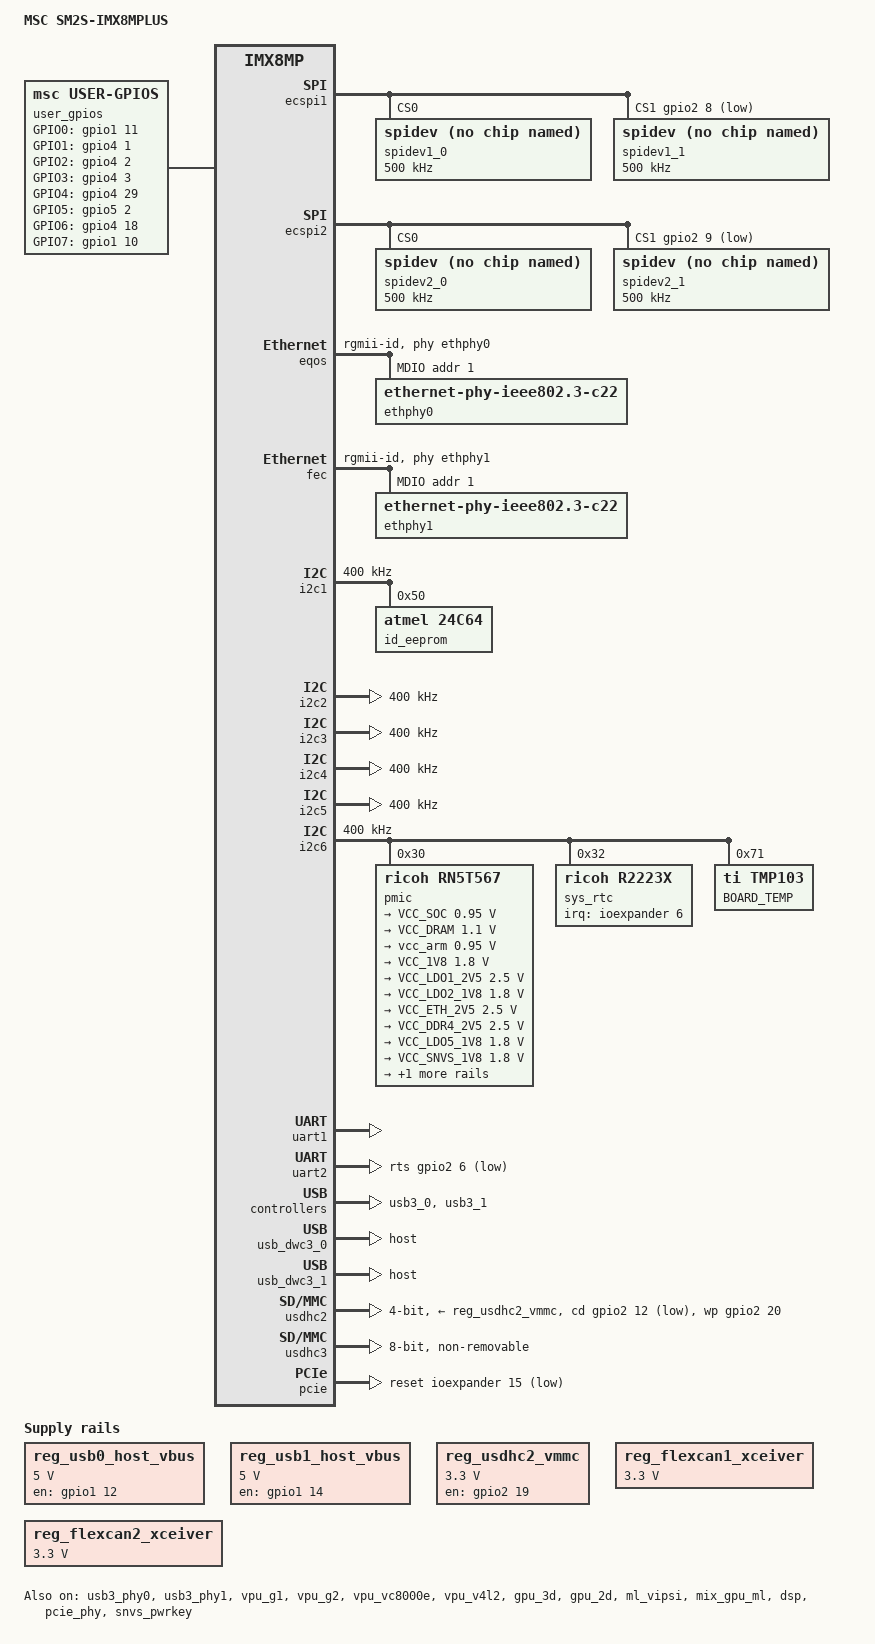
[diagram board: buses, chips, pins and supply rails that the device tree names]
/*
 * Copyright (C) 2022 Avnet Embedded GmbH
 *
 * This program is free software; you can redistribute it and/or
 * modify it under the terms of the GNU General Public License as
 * published by the Free Software Foundation version 2.
 *
 * This program is distributed "as is" WITHOUT ANY WARRANTY of any
 * kind, whether express or implied; without even the implied warranty
 * of MERCHANTABILITY or FITNESS FOR A PARTICULAR PURPOSE.  See the
 * GNU General Public License for more details.
 */

/dts-v1/;

#include <dt-bindings/usb/pd.h>
#include "../../freescale/imx8mp.dtsi"
#include <dt-bindings/net/ti-dp83867.h>
#include <dt-bindings/mfd/ricoh-rn5t618.h>
#include <dt-bindings/input/snvs_pwrkey.h>

/ {
	model = "MSC SM2S-IMX8MPLUS";
	compatible = "msc,sm2s-imx8mp", "fsl,imx8mp";

	aliases {
		rtc0 = &sys_rtc;
		rtc1 = &snvs_rtc;
	};

	chosen {
		stdout-path = &uart2;
	};

	/* clkout1 monitor output */
	clkout1: clkout1 {
		compatible = "fixed-clock";
		#clock-cells = <0>;
		clock-frequency = <24000000>;
		clock-output-names = "clkout1";
	};

	/* clkout2 monitor output */
	clkout2: clkout2 {
		compatible = "fixed-clock";
		#clock-cells = <0>;
		clock-frequency = <24000000>;
		clock-output-names = "clkout2";
	};

	reg_usb0_host_vbus: regulator-usb0-vbus {
		compatible = "regulator-fixed";
		regulator-name = "usb0_host_vbus";
		pinctrl-names = "default";
		pinctrl-0 = <&pinctrl_usb0_vbus>;
		regulator-min-microvolt = <5000000>;
		regulator-max-microvolt = <5000000>;
		gpio = <&gpio1 12 GPIO_ACTIVE_HIGH>;
		enable-active-high;
		/* regulator-always-on; */
	};

	reg_usb1_host_vbus: regulator-usb1-vbus {
		compatible = "regulator-fixed";
		regulator-name = "usb1_host_vbus";
		pinctrl-names = "default";
		pinctrl-0 = <&pinctrl_usb1_vbus>;
		regulator-min-microvolt = <5000000>;
		regulator-max-microvolt = <5000000>;
		gpio = <&gpio1 14 GPIO_ACTIVE_HIGH>;
		enable-active-high;
		/* regulator-always-on; */
	};

	reg_usdhc2_vmmc: regulator-usdhc2 {
		compatible = "regulator-fixed";
		pinctrl-names = "default";
		pinctrl-0 = <&pinctrl_reg_usdhc2_vmmc>;
		regulator-name = "VSD_3V3";
		regulator-min-microvolt = <3300000>;
		regulator-max-microvolt = <3300000>;
		gpio = <&gpio2 19 GPIO_ACTIVE_HIGH>;
		enable-active-high;
		startup-delay-us = <100>;
		off-on-delay-us = <12000>;
	};

	reg_flexcan1_xceiver: regulator-flexcan1-xceiver {
		compatible = "regulator-fixed";
		regulator-name = "flexcan1-xceiver";
		regulator-min-microvolt = <3300000>;
		regulator-max-microvolt = <3300000>;
		enable-active-high;
	};

	reg_flexcan2_xceiver: regulator-flexcan2-xceiver {
		compatible = "regulator-fixed";
		regulator-name = "flexcan2-xceiver";
		regulator-min-microvolt = <3300000>;
		regulator-max-microvolt = <3300000>;
		enable-active-high;
	};

	lcd0_backlight: lcd0_backlight {
		pinctrl-names = "default";
		pinctrl-0 = <&pinctrl_lcd0_backlight>;
		compatible = "pwm-backlight";
		pwms = <&pwm1 0 100000>;
		brightness-levels = <
			  0   1   2   3   4   5   6   7   8   9
			 10  11  12  13  14  15  16  17  18  19
			 20  21  22  23  24  25  26  27  28  29
			 30  31  32  33  34  35  36  37  38  39
			 40  41  42  43  44  45  46  47  48  49
			 50  51  52  53  54  55  56  57  58  59
			 60  61  62  63  64  65  66  67  68  69
			 70  71  72  73  74  75  76  77  78  79
			 80  81  82  83  84  85  86  87  88  89
			 90  91  92  93  94  95  96  97  98  99
			100 101 102 103 104 105 106 107 108 109
			110 111 112 113 114 115 116 117 118 119
			120 121 122 123 124 125 126 127 128 129
			130 131 132 133 134 135 136 137 138 139
			140 141 142 143 144 145 146 147 148 149
			150 151 152 153 154 155 156 157 158 159
			160 161 162 163 164 165 166 167 168 169
			170 171 172 173 174 175 176 177 178 179
			180 181 182 183 184 185 186 187 188 189
			190 191 192 193 194 195 196 197 198 199
			200 201 202 203 204 205 206 207 208 209
			210 211 212 213 214 215 216 217 218 219
			220 221 222 223 224 225 226 227 228 229
			230 231 232 233 234 235 236 237 238 239
			240 241 242 243 244 245 246 247 248 249
			250 251 252 253 254 255
		>;
		default-brightness-level = <255>;
		enable-gpios = <&gpio1 5 GPIO_ACTIVE_HIGH>;
		status = "disabled";
	};

	lcd1_backlight: lcd1_backlight {
		pinctrl-names = "default";
		pinctrl-0 = <&pinctrl_lcd1_backlight>;
		compatible = "pwm-backlight";
		pwms = <&pwm2 0 100000>;
		brightness-levels = <
			  0   1   2   3   4   5   6   7   8   9
			 10  11  12  13  14  15  16  17  18  19
			 20  21  22  23  24  25  26  27  28  29
			 30  31  32  33  34  35  36  37  38  39
			 40  41  42  43  44  45  46  47  48  49
			 50  51  52  53  54  55  56  57  58  59
			 60  61  62  63  64  65  66  67  68  69
			 70  71  72  73  74  75  76  77  78  79
			 80  81  82  83  84  85  86  87  88  89
			 90  91  92  93  94  95  96  97  98  99
			100 101 102 103 104 105 106 107 108 109
			110 111 112 113 114 115 116 117 118 119
			120 121 122 123 124 125 126 127 128 129
			130 131 132 133 134 135 136 137 138 139
			140 141 142 143 144 145 146 147 148 149
			150 151 152 153 154 155 156 157 158 159
			160 161 162 163 164 165 166 167 168 169
			170 171 172 173 174 175 176 177 178 179
			180 181 182 183 184 185 186 187 188 189
			190 191 192 193 194 195 196 197 198 199
			200 201 202 203 204 205 206 207 208 209
			210 211 212 213 214 215 216 217 218 219
			220 221 222 223 224 225 226 227 228 229
			230 231 232 233 234 235 236 237 238 239
			240 241 242 243 244 245 246 247 248 249
			250 251 252 253 254 255
		>;
		default-brightness-level = <255>;
		enable-gpios = <&gpio1 6 GPIO_ACTIVE_HIGH>;
		status = "disabled";
	};

	sound-hdmi {
		compatible = "fsl,imx-audio-hdmi";
		model = "audio-hdmi";
		audio-cpu = <&aud2htx>;
		hdmi-out;
		constraint-rate = <44100>,
				<88200>,
				<176400>,
				<32000>,
				<48000>,
				<96000>,
				<192000>;
		status = "disabled";
	};

	user_gpios {
		compatible = "msc,user-gpios";
		GPIO0-gpios = <&gpio1 11 GPIO_ACTIVE_HIGH>;
		GPIO1-gpios = <&gpio4 1 GPIO_ACTIVE_HIGH>;
		GPIO2-gpios = <&gpio4 2 GPIO_ACTIVE_HIGH>;
		GPIO3-gpios = <&gpio4 3 GPIO_ACTIVE_HIGH>;
		GPIO4-gpios = <&gpio4 29 GPIO_ACTIVE_HIGH>;
		GPIO5-gpios = <&gpio5 2 GPIO_ACTIVE_HIGH>;
		GPIO6-gpios = <&gpio4 18 GPIO_ACTIVE_HIGH>;
		GPIO7-gpios = <&gpio1 10 GPIO_ACTIVE_HIGH>;
		GPIO8-gpios = <&gpio4 20 GPIO_ACTIVE_HIGH>;
		GPIO9-gpios = <&gpio4 21 GPIO_ACTIVE_HIGH>;
		GPIO10-gpios = <&gpio4 22 GPIO_ACTIVE_HIGH>;
		GPIO11-gpios = <&gpio4 28 GPIO_ACTIVE_HIGH>;
		GPIO12-gpios = <&gpio4 19 GPIO_ACTIVE_HIGH>;
		GPIO13-gpios = <&gpio4 0 GPIO_ACTIVE_HIGH>;
	};

	i2c_ids {
		compatible = "msc,i2c-ids";
		i2c_gp {
			label = "gp";
			bus = <&i2c1>;
		};
		i2c_pm {
			label = "pm";
			bus = <&i2c2>;
		};
		i2c_lcd {
			label = "lcd";
			bus = <&i2c3>;
		};
		i2c_cam0 {
			label = "cam0";
			bus = <&i2c4>;
		};
		i2c_cam1 {
			label = "cam1";
			bus = <&i2c5>;
		};
		i2c_dev {
			label = "dev";
			bus = <&i2c6>;
		};
	};
};

&aud2htx {
	status = "disabled";
};

&A53_0 {
	cpu-supply = <&vcc_arm>;
};

&A53_1 {
	cpu-supply = <&vcc_arm>;
};

&A53_2 {
	cpu-supply = <&vcc_arm>;
};

&A53_3 {
	cpu-supply = <&vcc_arm>;
};

&pwm1 {
	pinctrl-names = "default";
	pinctrl-0 = <&pinctrl_pwm1>;
	status = "disabled";
};

&pwm2 {
	pinctrl-names = "default";
	pinctrl-0 = <&pinctrl_pwm2>;
	status = "disabled";
};

&pwm3 {
	pinctrl-names = "default";
	pinctrl-0 = <&pinctrl_pwm3>;
	status = "disabled";
};

&pwm4 {
	pinctrl-names = "default";
	pinctrl-0 = <&pinctrl_pwm4>;
	status = "disabled";
};

&ecspi1 {
	#address-cells = <1>;
	#size-cells = <0>;
	pinctrl-names = "default";
	pinctrl-0 = <&pinctrl_ecspi1>, <&pinctrl_ecspi1_cs0>, <&pinctrl_ecspi1_cs1>;
	fsl,spi-num-chipselects = <2>;
	cs-gpios =
			<0>,
			<&gpio2 8 GPIO_ACTIVE_LOW>;
	status = "okay";

	spidev1_0: spi@0 {
		compatible = "rohm,dh2228fv";
		reg = <0>;
		spi-max-frequency = <500000>;
	};

	spidev1_1: spi@1 {
		compatible = "rohm,dh2228fv";
		reg = <1>;
		spi-max-frequency = <500000>;
	};
};

&ecspi2 {
	#address-cells = <1>;
	#size-cells = <0>;
	pinctrl-names = "default";
	pinctrl-0 = <&pinctrl_ecspi2>, <&pinctrl_ecspi2_cs0>, <&pinctrl_ecspi2_cs1>;
	fsl,spi-num-chipselects = <2>;
	cs-gpios =
			<0>,
			<&gpio2 9 GPIO_ACTIVE_LOW>;
	status = "okay";

	spidev2_0: spi@0 {
		compatible = "rohm,dh2228fv";
		reg = <0>;
		spi-max-frequency = <500000>;
	};

	spidev2_1: spi@1 {
		compatible = "rohm,dh2228fv";
		reg = <1>;
		spi-max-frequency = <500000>;
	};
};

&eqos {
	pinctrl-names = "default";
	pinctrl-0 = <&pinctrl_eqos>;
	phy-mode = "rgmii-id";
	phy-handle = <&ethphy0>;
	phy-reset-duration = <1>;
	phy-reset-post-delay = <1>;
	status = "okay";

	mdio {
		compatible = "snps,dwmac-mdio";
		#address-cells = <1>;
		#size-cells = <0>;

		ethphy0: ethernet-phy@1 {
			compatible = "ethernet-phy-ieee802.3-c22";
			reg = <1>;
			eee-broken-1000t;

			ti,rx-internal-delay = <DP83867_RGMIIDCTL_2_25_NS>;
			ti,tx-internal-delay = <DP83867_RGMIIDCTL_2_25_NS>;
			ti,fifo-depth = <DP83867_PHYCR_FIFO_DEPTH_4_B_NIB>;
			ti,led-2-sel = <MII_DP83867_LEDCR1_LED_SEL_LE_RX_TX_ACT>;
			ti,led-1-sel = <MII_DP83867_LEDCR1_LED_SEL_1000BT_LE>;
			ti,led-0-sel = <MII_DP83867_LEDCR1_LED_SEL_100BTX_LE>;
			ti,led-gpio-polarity-active-high;
			ti,led-2-polarity-active-high;
			ti,led-1-polarity-active-high;
			ti,led-0-polarity-active-high;
			ti,clk-output-sel = <DP83867_CLK_O_SEL_OFF>;
			ti,deep-power-down-mode-enable;
		};
	};
};

&fec {
	pinctrl-names = "default";
	pinctrl-0 = <&pinctrl_fec>;
	phy-mode = "rgmii-id";
	phy-handle = <&ethphy1>;
	fsl,magic-packet;
	phy-reset-duration = <1>;
	phy-reset-post-delay = <1>;
	status = "okay";

	mdio {
		#address-cells = <1>;
		#size-cells = <0>;

		ethphy1: ethernet-phy@1 {
			compatible = "ethernet-phy-ieee802.3-c22";
			reg = <1>;
			eee-broken-1000t;

			ti,rx-internal-delay = <DP83867_RGMIIDCTL_2_25_NS>;
			ti,tx-internal-delay = <DP83867_RGMIIDCTL_2_25_NS>;
			ti,fifo-depth = <DP83867_PHYCR_FIFO_DEPTH_4_B_NIB>;
			ti,led-2-sel = <MII_DP83867_LEDCR1_LED_SEL_LE_RX_TX_ACT>;
			ti,led-1-sel = <MII_DP83867_LEDCR1_LED_SEL_1000BT_LE>;
			ti,led-0-sel = <MII_DP83867_LEDCR1_LED_SEL_100BTX_LE>;
			ti,led-gpio-polarity-active-high;
			ti,led-2-polarity-active-high;
			ti,led-1-polarity-active-high;
			ti,led-0-polarity-active-high;
			ti,clk-output-sel = <DP83867_CLK_O_SEL_OFF>;
			ti,deep-power-down-mode-enable;
		};
	};
};

/* i2c_gp */
&i2c1 {
	pinctrl-names = "default";
	pinctrl-0 = <&pinctrl_i2c1>;
	clock-frequency = <400000>;
	status = "okay";

	id_eeprom: eeprom@50 {
		compatible = "atmel,24c64";
		reg = <0x50>;
		pagesize = <32>;
	};
};

/* i2c_pm */
&i2c2 {
	pinctrl-names = "default";
	pinctrl-0 = <&pinctrl_i2c2>;
	clock-frequency = <400000>;
	status = "okay";
};

/* i2c_lcd */
&i2c3 {
	pinctrl-names = "default";
	pinctrl-0 = <&pinctrl_i2c3>;
	clock-frequency = <400000>;
	status = "okay";
};

/* i2c_cam0 */
&i2c4 {
	pinctrl-names = "default";
	pinctrl-0 = <&pinctrl_i2c4>;
	clock-frequency = <400000>;
	status = "okay";
};

/* i2c_cam1 */
&i2c5 {
	pinctrl-names = "default";
	pinctrl-0 = <&pinctrl_i2c5>;
	clock-frequency = <400000>;
	status = "okay";
};

/* i2c_dev */
&i2c6 {
	pinctrl-names = "default";
	pinctrl-0 = <&pinctrl_i2c6>;
	clock-frequency = <400000>;
	status = "okay";

	dsi_lvds_bridge: sn65dsi84@2d {
		compatible = "ti,sn65dsi83";
		reg = <0x2d>;
		pinctrl-names = "default";
		pinctrl-0 = <&pinctrl_lvds_bridge>, <&pinctrl_lcd1_panel>;
		enable-gpios = <&gpio1 7 GPIO_ACTIVE_HIGH>;
		status = "disabled";
	};

	pmic: pmic@30 {
		compatible = "ricoh,rn5t567";
		reg = <0x30>;
		suspend-sequence = /bits/ 8 <
			0x1c 	0xc2
			0x1e 	0x81
		>;
		repower-time = <REPWRTIME_1000MS>;

		regulators {
			DCDC1 {
				regulator-name = "VCC_SOC";
				regulator-always-on;
				regulator-min-microvolt = <950000>;
				regulator-max-microvolt = <950000>;
			};
			DCDC2 {
				regulator-name = "VCC_DRAM";
				regulator-always-on;
				regulator-min-microvolt = <1100000>;
				regulator-max-microvolt = <1100000>;
			};
			vcc_arm: DCDC3 {
				regulator-name = "VCC_ARM";
				regulator-always-on;
				regulator-min-microvolt = <950000>;
				regulator-max-microvolt = <950000>;
			};
			DCDC4 {
				regulator-name = "VCC_1V8";
				regulator-always-on;
				regulator-min-microvolt = <1800000>;
				regulator-max-microvolt = <1800000>;
			};
			LDO1 {
				regulator-name = "VCC_LDO1_2V5";
				regulator-always-on;
				regulator-min-microvolt = <2500000>;
				regulator-max-microvolt = <2500000>;
			};
			LDO2 {
				regulator-name = "VCC_LDO2_1V8";
				regulator-always-on;
				regulator-min-microvolt = <1800000>;
				regulator-max-microvolt = <1800000>;
			};
			LDO3 {
				regulator-name = "VCC_ETH_2V5";
				regulator-always-on;
				regulator-min-microvolt = <2500000>;
				regulator-max-microvolt = <2500000>;
			};
			LDO4 {
				regulator-name = "VCC_DDR4_2V5";
				regulator-always-on;
				regulator-min-microvolt = <2500000>;
				regulator-max-microvolt = <2500000>;
			};
			LDO5 {
				regulator-name = "VCC_LDO5_1V8";
				regulator-always-on;
				regulator-min-microvolt = <1800000>;
				regulator-max-microvolt = <1800000>;
			};
			LDORTC1 {
				regulator-name = "VCC_SNVS_1V8";
				regulator-always-on;
				regulator-min-microvolt = <1800000>;
				regulator-max-microvolt = <1800000>;
			};
			LDORTC2 {
				regulator-name = "VCC_SNVS_3V3";
				regulator-always-on;
				regulator-min-microvolt = <3300000>;
				regulator-max-microvolt = <3300000>;
			};
		};
	};

	sys_rtc: rtc@32 {
		compatible = "ricoh,r2223x";
		reg = <0x32>;
		interrupt-parent = <&ioexpander>;
		interrupts = <6 IRQ_TYPE_EDGE_FALLING>;
		r2223x.eco-mode;
	};

	tmp_sensor: tmp103@71 {
		compatible = "ti,tmp103";
		reg = <0x71>;
		label = "BOARD_TEMP";
	};
};

/* qspi */
&flexspi {
	pinctrl-names = "default";
	pinctrl-0 = <&pinctrl_flexspi0>;
	status = "disabled";

	qspi_flash: qspi_flash@0 {
		reg = <0>;
		#address-cells = <1>;
		#size-cells = <1>;
		compatible = "jedec,spi-nor";
		spi-max-frequency = <80000000>;
		spi-tx-bus-width = <4>;
		spi-rx-bus-width = <4>;
	};
};

&irqsteer_hdmi {
	status = "disabled";
};

&hdmi_blk_ctrl {
	status = "disabled";
};

&hdmi_pavi {
	status = "disabled";
};

&hdmi {
	status = "disabled";
};

&hdmiphy {
	status = "disabled";
};

&lcdif1 {
	status = "disabled";
};

&lcdif2 {
	status = "disabled";
};

&lcdif3 {
	thres-low  = <1 2>;		/* (FIFO * 1 / 2) */
	thres-high = <3 4>;		/* (FIFO * 3 / 4) */
	status = "disabled";
};

&ldb {
	status = "disabled";
};

&ldb_phy {
	status = "disabled";
};

&mipi_dsi {
	status = "disabled";
};

&easrc {
	fsl,asrc-rate  = <48000>;
	status = "disabled";
};

&micfil {
	status = "disabled";
};

&sai1 {
	status = "disabled";
};

&sai2 {
	status = "disabled";
};

&sai3 {
	status = "disabled";
};

&sai5 {
	status = "disabled";
};

&sai6 {
	status = "disabled";
};

&sai7 {
	status = "disabled";
};

&xcvr {
	#sound-dai-cells = <0>;
	status = "disabled";
};

&sdma1 {
	status = "okay";
};

&sdma2 {
	status = "okay";
};

/* ser1 */
&uart1 {
	pinctrl-names = "default";
	pinctrl-0 = <&pinctrl_uart1>;
	status = "okay";
};

/* ser0, (debug) */
&uart2 {
	pinctrl-names = "default";
	pinctrl-0 = <&pinctrl_uart2>;
	uart-has-rtscts;
	rts-gpios = <&gpio2 6 GPIO_ACTIVE_LOW>;
	cts-gpios = <&gpio2 7 GPIO_ACTIVE_LOW>;
	status = "okay";
};

/* ser2 */
&uart3 {
	pinctrl-names = "default";
	pinctrl-0 = <&pinctrl_uart3>;
	uart-has-rtscts;
	rts-gpios = <&gpio2 10 GPIO_ACTIVE_LOW>;
	cts-gpios = <&gpio2 11 GPIO_ACTIVE_LOW>;
	status = "disabled";
};

&uart4 {
	pinctrl-names = "default";
	pinctrl-0 = <&pinctrl_uart4>;
	status = "disabled";
};

&usb3_phy0 {
	vbus-supply = <&reg_usb0_host_vbus>;
	fsl,phy-tx-preemp-amp-tune = <2>;
	status = "okay";
};

&usb3_0 {
	status = "okay";
};

&usb_dwc3_0 {
	dr_mode = "host";
	status = "okay";
};

&usb3_phy1 {
	vbus-supply = <&reg_usb1_host_vbus>;
	fsl,phy-tx-preemp-amp-tune = <3>;
	fsl,phy-tx-vref-tune = <0xb>;
	status = "okay";
};

&usb3_1 {
	status = "okay";
};

&usb_dwc3_1 {
	dr_mode = "host";
	status = "okay";
};

&vpu_g1 {
	status = "okay";
};

&vpu_g2 {
	status = "okay";
};

&vpu_vc8000e {
	status = "okay";
};

&vpu_v4l2 {
	status = "okay";
};

&gpu_3d {
	status = "okay";
};

&gpu_2d {
	status = "okay";
};

&ml_vipsi {
	status = "okay";
};

&mix_gpu_ml {
	status = "okay";
};

&cameradev {
	status = "disabled";
};

&isi_0 {
	status = "disabled";

	cap_device {
		status = "disabled";
	};

	m2m_device {
		status = "disabled";
	};
};

&isi_1 {
	status = "disabled";

	cap_device {
		status = "disabled";
	};
};

&dsp {
	status = "okay";
};

&usdhc1 {
	status = "disabled";
};

&usdhc2 {
	assigned-clocks = <&clk IMX8MP_CLK_USDHC2>;
	assigned-clock-rates = <400000000>;
	pinctrl-names = "default", "state_100mhz", "state_200mhz";
	pinctrl-0 = <&pinctrl_usdhc2>, <&pinctrl_usdhc2_gpio>;
	pinctrl-1 = <&pinctrl_usdhc2_100mhz>, <&pinctrl_usdhc2_gpio>;
	pinctrl-2 = <&pinctrl_usdhc2_200mhz>, <&pinctrl_usdhc2_gpio>;
	cd-gpios = <&gpio2 12 GPIO_ACTIVE_LOW>;
	wp-gpios = <&gpio2 20 GPIO_ACTIVE_HIGH>;
	bus-width = <4>;
	vmmc-supply = <&reg_usdhc2_vmmc>;
	status = "okay";
};

&usdhc3 {
	assigned-clocks = <&clk IMX8MP_CLK_USDHC3>;
	assigned-clock-rates = <400000000>;
	pinctrl-names = "default", "state_100mhz", "state_200mhz";
	pinctrl-0 = <&pinctrl_usdhc3>;
	pinctrl-1 = <&pinctrl_usdhc3_100mhz>;
	pinctrl-2 = <&pinctrl_usdhc3_200mhz>;
	bus-width = <8>;
	non-removable;
	status = "okay";
};

/* can0 */
&flexcan1 {
	pinctrl-names = "default";
	pinctrl-0 = <&pinctrl_flexcan1>;
	xceiver-supply = <&reg_flexcan1_xceiver>;
	status = "disabled";
};

/* can1 */
&flexcan2 {
	pinctrl-names = "default";
	pinctrl-0 = <&pinctrl_flexcan2>;
	xceiver-supply = <&reg_flexcan2_xceiver>;
	status = "disabled";
};

&mipi_csi_0 {
	#address-cells = <1>;
	#size-cells = <0>;
	status = "disabled";
};

&mipi_csi_1 {
	#address-cells = <1>;
	#size-cells = <0>;
	status = "disabled";
};

&pcie {
	reset-gpio = <&ioexpander 15 GPIO_ACTIVE_LOW>;
	ext_osc = <1>;
	clocks = <&clk IMX8MP_CLK_HSIO_ROOT>,
		 <&clk IMX8MP_CLK_PCIE_AUX>,
		 <&clk IMX8MP_CLK_HSIO_AXI>,
		 <&clk IMX8MP_CLK_PCIE_ROOT>;
	clock-names = "pcie", "pcie_aux", "pcie_phy", "pcie_bus";
	assigned-clocks = <&clk IMX8MP_CLK_HSIO_AXI>,
			  <&clk IMX8MP_CLK_PCIE_AUX>;
	assigned-clock-rates = <500000000>, <10000000>;
	assigned-clock-parents = <&clk IMX8MP_SYS_PLL2_500M>,
				 <&clk IMX8MP_SYS_PLL2_50M>;
	l1ss-disabled;
	status = "okay";
};

&pcie_phy {
	ext_osc = <1>;
	status = "okay";
};

&snvs_pwrkey {
	on-time = <SNVS_LPCR_ON_TIME_0ms>;
	status = "okay";
};

&anatop {
	clkout1,source = <IMX8MP_CLK_CLKOUT_OUTPUT_SEL_SYSOSC_24M>;
	clkout1,enable;
	clkout2,source = <IMX8MP_CLK_CLKOUT_OUTPUT_SEL_SYSOSC_24M>;
	clkout2,enable;
};

&a53_opp_table {
	opp-1200000000 {
		opp-microvolt = <950000>;
	};
};

&gpio1 {
	gpio-line-names =
		"", "", "", "", "", "", "", "", "", "",
		"gpio7", "gpio0", "", "", "", "", "", "", "", "",
		"", "", "", "", "", "", "", "", "", "",
		"", "";
	};

&gpio4 {
		gpio-line-names =
		"gpio13", "gpio1", "gpio2", "gpio3", "", "", "", "", "", "",
		"", "", "", "", "", "", "", "", "gpio6", "gpio12",
		"gpio8", "gpio9", "gpio10", "", "", "", "", "", "gpio11", "gpio4",
		"", "";
	};

&gpio5 {
		gpio-line-names =
		"", "", "gpio5", "", "", "", "", "", "", "",
		"", "", "", "", "", "", "", "", "", "",
		"", "", "", "", "", "", "", "", "", "",
		"", "";
	};

&iomuxc {
	pinctrl-names = "default";
	pinctrl-0 = <&pinctrl_smarc_gpio>, <&pinctrl_hog>;

	pinctrl_hog: hoggrp {
		fsl,pins = <
			MX8MP_IOMUXC_HDMI_DDC_SCL__HDMIMIX_HDMI_SCL	0x400001c3
			MX8MP_IOMUXC_HDMI_DDC_SDA__HDMIMIX_HDMI_SDA	0x400001c3
			MX8MP_IOMUXC_HDMI_HPD__HDMIMIX_HDMI_HPD		0x40000019
			MX8MP_IOMUXC_HDMI_CEC__HDMIMIX_HDMI_CEC		0x40000019
		>;
	};

	pinctrl_smarc_gpio: smarcgpiosgrp {
		fsl,pins = <
			/* GPIO0 */
			MX8MP_IOMUXC_GPIO1_IO11__GPIO1_IO11		0x19
			/* GPIO1 */
			MX8MP_IOMUXC_SAI1_RXC__GPIO4_IO01		0x19
			/* GPIO2 */
			MX8MP_IOMUXC_SAI1_RXD0__GPIO4_IO02		0x19
			/* GPIO3 */
			MX8MP_IOMUXC_SAI1_RXD1__GPIO4_IO03		0x19
			/* GPIO4 */
			MX8MP_IOMUXC_SAI3_RXC__GPIO4_IO29		0x19
			/* GPIO5 */
			MX8MP_IOMUXC_SAI3_MCLK__GPIO5_IO02		0x19
			/* GPIO6 */
			MX8MP_IOMUXC_SAI1_TXD6__GPIO4_IO18		0x19
			/* GPIO7 */
			MX8MP_IOMUXC_GPIO1_IO10__GPIO1_IO10		0x19
			/* GPIO8 */
			MX8MP_IOMUXC_SAI1_MCLK__GPIO4_IO20		0x19
			/* GPIO9 */
			MX8MP_IOMUXC_SAI2_RXFS__GPIO4_IO21		0x19
			/* GPIO10 */
			MX8MP_IOMUXC_SAI2_RXC__GPIO4_IO22		0x19
			/* GPIO11 */
			MX8MP_IOMUXC_SAI3_RXFS__GPIO4_IO28		0x19
			/* GPIO12 */
			MX8MP_IOMUXC_SAI1_TXD7__GPIO4_IO19		0x19
			/* GPIO13 */
			MX8MP_IOMUXC_SAI1_RXFS__GPIO4_IO00		0x19
		>;
	};

	pinctrl_uart1: uart1grp {
		fsl,pins = <
			MX8MP_IOMUXC_UART1_RXD__UART1_DCE_RX	0x49
			MX8MP_IOMUXC_UART1_TXD__UART1_DCE_TX	0x49
		>;
	};

	pinctrl_uart2: uart2grp {
		fsl,pins = <
			MX8MP_IOMUXC_UART2_RXD__UART2_DCE_RX	0x49
			MX8MP_IOMUXC_UART2_TXD__UART2_DCE_TX	0x49
			/* RTS# */
			MX8MP_IOMUXC_SD1_DATA4__GPIO2_IO06		0x1c4
			/* CTS# */
			MX8MP_IOMUXC_SD1_DATA5__GPIO2_IO07		0x1c4
		>;
	};

	pinctrl_uart3: uart3grp {
		fsl,pins = <
			MX8MP_IOMUXC_UART3_RXD__UART3_DCE_RX	0x49
			MX8MP_IOMUXC_UART3_TXD__UART3_DCE_TX	0x49
			/* RTS# */
			MX8MP_IOMUXC_SD1_RESET_B__GPIO2_IO10	0x1c4
			/* CTS# */
			MX8MP_IOMUXC_SD1_STROBE__GPIO2_IO11		0x1c4
		>;
	};

	pinctrl_uart4: uart4grp {
		fsl,pins = <
			MX8MP_IOMUXC_UART4_RXD__UART4_DCE_RX	0x49
			MX8MP_IOMUXC_UART4_TXD__UART4_DCE_TX	0x49
		>;
	};

	pinctrl_usdhc1: usdhc1grp {
		fsl,pins = <
			MX8MP_IOMUXC_SD1_CLK__USDHC1_CLK		0x190
			MX8MP_IOMUXC_SD1_CMD__USDHC1_CMD		0x190
			MX8MP_IOMUXC_SD1_DATA0__USDHC1_DATA0	0x190
			MX8MP_IOMUXC_SD1_DATA1__USDHC1_DATA1	0x190
			MX8MP_IOMUXC_SD1_DATA2__USDHC1_DATA2	0x190
			MX8MP_IOMUXC_SD1_DATA3__USDHC1_DATA3	0x190
		>;
	};

	pinctrl_usdhc1_100mhz: usdhc1grp-100mhz {
		fsl,pins = <
			MX8MP_IOMUXC_SD1_CLK__USDHC1_CLK		0x194
			MX8MP_IOMUXC_SD1_CMD__USDHC1_CMD		0x194
			MX8MP_IOMUXC_SD1_DATA0__USDHC1_DATA0	0x194
			MX8MP_IOMUXC_SD1_DATA1__USDHC1_DATA1	0x194
			MX8MP_IOMUXC_SD1_DATA2__USDHC1_DATA2	0x194
			MX8MP_IOMUXC_SD1_DATA3__USDHC1_DATA3	0x194
		>;
	};

	pinctrl_usdhc1_200mhz: usdhc1grp-200mhz {
		fsl,pins = <
			MX8MP_IOMUXC_SD1_CLK__USDHC1_CLK		0x196
			MX8MP_IOMUXC_SD1_CMD__USDHC1_CMD		0x196
			MX8MP_IOMUXC_SD1_DATA0__USDHC1_DATA0	0x196
			MX8MP_IOMUXC_SD1_DATA1__USDHC1_DATA1	0x196
			MX8MP_IOMUXC_SD1_DATA2__USDHC1_DATA2	0x196
			MX8MP_IOMUXC_SD1_DATA3__USDHC1_DATA3	0x196
		>;
	};

	pinctrl_usdhc2_gpio: usdhc2grp-gpio {
		fsl,pins = <
			MX8MP_IOMUXC_SD2_CD_B__GPIO2_IO12		0x1c4
			MX8MP_IOMUXC_SD2_WP__GPIO2_IO20			0x1c4
		>;
	};

	pinctrl_usdhc2: usdhc2grp {
		fsl,pins = <
			MX8MP_IOMUXC_SD2_CLK__USDHC2_CLK		0x190
			MX8MP_IOMUXC_SD2_CMD__USDHC2_CMD		0x1d0
			MX8MP_IOMUXC_SD2_DATA0__USDHC2_DATA0	0x1d0
			MX8MP_IOMUXC_SD2_DATA1__USDHC2_DATA1	0x1d0
			MX8MP_IOMUXC_SD2_DATA2__USDHC2_DATA2	0x1d0
			MX8MP_IOMUXC_SD2_DATA3__USDHC2_DATA3	0x1d0
			MX8MP_IOMUXC_GPIO1_IO04__USDHC2_VSELECT	0xc1
		>;
	};

	pinctrl_usdhc2_100mhz: usdhc2grp-100mhz {
		fsl,pins = <
			MX8MP_IOMUXC_SD2_CLK__USDHC2_CLK		0x194
			MX8MP_IOMUXC_SD2_CMD__USDHC2_CMD		0x1d4
			MX8MP_IOMUXC_SD2_DATA0__USDHC2_DATA0	0x1d4
			MX8MP_IOMUXC_SD2_DATA1__USDHC2_DATA1	0x1d4
			MX8MP_IOMUXC_SD2_DATA2__USDHC2_DATA2	0x1d4
			MX8MP_IOMUXC_SD2_DATA3__USDHC2_DATA3	0x1d4
			MX8MP_IOMUXC_GPIO1_IO04__USDHC2_VSELECT 0xc1
		>;
	};

	pinctrl_usdhc2_200mhz: usdhc2grp-200mhz {
		fsl,pins = <
			MX8MP_IOMUXC_SD2_CLK__USDHC2_CLK		0x196
			MX8MP_IOMUXC_SD2_CMD__USDHC2_CMD		0x1d6
			MX8MP_IOMUXC_SD2_DATA0__USDHC2_DATA0	0x1d6
			MX8MP_IOMUXC_SD2_DATA1__USDHC2_DATA1	0x1d6
			MX8MP_IOMUXC_SD2_DATA2__USDHC2_DATA2	0x1d6
			MX8MP_IOMUXC_SD2_DATA3__USDHC2_DATA3	0x1d6
			MX8MP_IOMUXC_GPIO1_IO04__USDHC2_VSELECT 0xc1
		>;
	};

	pinctrl_reg_usdhc2_vmmc: regusdhc2vmmc {
		fsl,pins = <
			MX8MP_IOMUXC_SD2_RESET_B__GPIO2_IO19    0x41
		>;
	};

	pinctrl_usdhc3: usdhc3grp {
		fsl,pins = <
			MX8MP_IOMUXC_NAND_WE_B__USDHC3_CLK		0x190
			MX8MP_IOMUXC_NAND_WP_B__USDHC3_CMD		0x1d0
			MX8MP_IOMUXC_NAND_DATA04__USDHC3_DATA0	0x1d0
			MX8MP_IOMUXC_NAND_DATA05__USDHC3_DATA1	0x1d0
			MX8MP_IOMUXC_NAND_DATA06__USDHC3_DATA2	0x1d0
			MX8MP_IOMUXC_NAND_DATA07__USDHC3_DATA3	0x1d0
			MX8MP_IOMUXC_NAND_RE_B__USDHC3_DATA4	0x1d0
			MX8MP_IOMUXC_NAND_CE2_B__USDHC3_DATA5	0x1d0
			MX8MP_IOMUXC_NAND_CE3_B__USDHC3_DATA6	0x1d0
			MX8MP_IOMUXC_NAND_CLE__USDHC3_DATA7		0x1d0
			MX8MP_IOMUXC_NAND_CE1_B__USDHC3_STROBE	0x190
		>;
	};

	pinctrl_usdhc3_100mhz: usdhc3grp-100mhz {
		fsl,pins = <
			MX8MP_IOMUXC_NAND_WE_B__USDHC3_CLK		0x194
			MX8MP_IOMUXC_NAND_WP_B__USDHC3_CMD		0x1d4
			MX8MP_IOMUXC_NAND_DATA04__USDHC3_DATA0	0x1d4
			MX8MP_IOMUXC_NAND_DATA05__USDHC3_DATA1	0x1d4
			MX8MP_IOMUXC_NAND_DATA06__USDHC3_DATA2	0x1d4
			MX8MP_IOMUXC_NAND_DATA07__USDHC3_DATA3	0x1d4
			MX8MP_IOMUXC_NAND_RE_B__USDHC3_DATA4	0x1d4
			MX8MP_IOMUXC_NAND_CE2_B__USDHC3_DATA5	0x1d4
			MX8MP_IOMUXC_NAND_CE3_B__USDHC3_DATA6	0x1d4
			MX8MP_IOMUXC_NAND_CLE__USDHC3_DATA7		0x1d4
			MX8MP_IOMUXC_NAND_CE1_B__USDHC3_STROBE	0x194
		>;
	};

	pinctrl_usdhc3_200mhz: usdhc3grp-200mhz {
		fsl,pins = <
			MX8MP_IOMUXC_NAND_WE_B__USDHC3_CLK		0x196
			MX8MP_IOMUXC_NAND_WP_B__USDHC3_CMD		0x1d6
			MX8MP_IOMUXC_NAND_DATA04__USDHC3_DATA0	0x1d6
			MX8MP_IOMUXC_NAND_DATA05__USDHC3_DATA1	0x1d6
			MX8MP_IOMUXC_NAND_DATA06__USDHC3_DATA2	0x1d6
			MX8MP_IOMUXC_NAND_DATA07__USDHC3_DATA3	0x1d6
			MX8MP_IOMUXC_NAND_RE_B__USDHC3_DATA4	0x1d6
			MX8MP_IOMUXC_NAND_CE2_B__USDHC3_DATA5	0x1d6
			MX8MP_IOMUXC_NAND_CE3_B__USDHC3_DATA6	0x1d6
			MX8MP_IOMUXC_NAND_CLE__USDHC3_DATA7		0x1d6
			MX8MP_IOMUXC_NAND_CE1_B__USDHC3_STROBE	0x196
		>;
	};

	pinctrl_i2c1: i2c1grp {
		fsl,pins = <
			MX8MP_IOMUXC_I2C1_SCL__I2C1_SCL		0x400001c3
			MX8MP_IOMUXC_I2C1_SDA__I2C1_SDA		0x400001c3
		>;
	};

	pinctrl_i2c2: i2c2grp {
		fsl,pins = <
			MX8MP_IOMUXC_I2C2_SCL__I2C2_SCL		0x400001c3
			MX8MP_IOMUXC_I2C2_SDA__I2C2_SDA		0x400001c3
		>;
	};

	pinctrl_i2c3: i2c3grp {
		fsl,pins = <
			MX8MP_IOMUXC_I2C3_SCL__I2C3_SCL		0x400001c3
			MX8MP_IOMUXC_I2C3_SDA__I2C3_SDA		0x400001c3
		>;
	};

	pinctrl_i2c4: i2c4grp {
		fsl,pins = <
			MX8MP_IOMUXC_I2C4_SCL__I2C4_SCL		0x400001c3
			MX8MP_IOMUXC_I2C4_SDA__I2C4_SDA		0x400001c3
		>;
	};

	pinctrl_i2c5: i2c5grp {
		fsl,pins = <
			MX8MP_IOMUXC_SPDIF_TX__I2C5_SCL		0x400001c3
			MX8MP_IOMUXC_SPDIF_RX__I2C5_SDA		0x400001c3
		>;
	};

	pinctrl_i2c6: i2c6grp {
		fsl,pins = <
			MX8MP_IOMUXC_SAI5_RXFS__I2C6_SCL	0x400001c3
			MX8MP_IOMUXC_SAI5_RXC__I2C6_SDA		0x400001c3
		>;
	};

	pinctrl_flexspi0: flexspi0grp {
		fsl,pins = <
			MX8MP_IOMUXC_NAND_ALE__FLEXSPI_A_SCLK		0x1c2
			MX8MP_IOMUXC_NAND_CE0_B__FLEXSPI_A_SS0_B	0x82
			MX8MP_IOMUXC_NAND_DATA00__FLEXSPI_A_DATA00	0x82
			MX8MP_IOMUXC_NAND_DATA01__FLEXSPI_A_DATA01	0x82
			MX8MP_IOMUXC_NAND_DATA02__FLEXSPI_A_DATA02	0x82
			MX8MP_IOMUXC_NAND_DATA03__FLEXSPI_A_DATA03	0x82
			MX8MP_IOMUXC_NAND_DQS__GPIO3_IO14			0x19
		>;
	};

	pinctrl_ecspi1: ecspi1grp {
		fsl,pins = <
			MX8MP_IOMUXC_ECSPI1_SCLK__ECSPI1_SCLK		0x82
			MX8MP_IOMUXC_ECSPI1_MOSI__ECSPI1_MOSI		0x82
			MX8MP_IOMUXC_ECSPI1_MISO__ECSPI1_MISO		0x82
		>;
	};

	pinctrl_ecspi1_cs0: ecspi1cs0grp {
		fsl,pins = <
			MX8MP_IOMUXC_ECSPI1_SS0__ECSPI1_SS0			0x40000
		>;
	};

	pinctrl_ecspi1_cs0_gpio: ecspi1cs0gpiogrp {
		fsl,pins = <
			MX8MP_IOMUXC_ECSPI1_SS0__GPIO5_IO09			0x40000
		>;
	};

	pinctrl_ecspi1_cs1: ecspi1cs1grp {
		fsl,pins = <
			MX8MP_IOMUXC_SD1_DATA6__GPIO2_IO08			0x40000
		>;
	};

	pinctrl_ecspi2: ecspi2grp {
		fsl,pins = <
			MX8MP_IOMUXC_ECSPI2_SCLK__ECSPI2_SCLK		0x82
			MX8MP_IOMUXC_ECSPI2_MOSI__ECSPI2_MOSI		0x82
			MX8MP_IOMUXC_ECSPI2_MISO__ECSPI2_MISO		0x82
		>;
	};

	pinctrl_ecspi2_cs0: ecspi2cs0grp {
		fsl,pins = <
			MX8MP_IOMUXC_ECSPI2_SS0__ECSPI2_SS0			0x40000
		>;
	};

	pinctrl_ecspi2_cs0_gpio: ecspi2cs0gpiogrp {
		fsl,pins = <
			MX8MP_IOMUXC_ECSPI2_SS0__GPIO5_IO13			0x40000
		>;
	};

	pinctrl_ecspi2_cs1: ecspi2cs1grp {
		fsl,pins = <
			MX8MP_IOMUXC_SD1_DATA7__GPIO2_IO09			0x40000
		>;
	};

	pinctrl_eqos: eqosgrp {
		fsl,pins = <
			MX8MP_IOMUXC_ENET_MDC__ENET_QOS_MDC				0x3
			MX8MP_IOMUXC_ENET_MDIO__ENET_QOS_MDIO			0x3
			MX8MP_IOMUXC_ENET_RD0__ENET_QOS_RGMII_RD0		0x91
			MX8MP_IOMUXC_ENET_RD1__ENET_QOS_RGMII_RD1		0x91
			MX8MP_IOMUXC_ENET_RD2__ENET_QOS_RGMII_RD2		0x91
			MX8MP_IOMUXC_ENET_RD3__ENET_QOS_RGMII_RD3		0x91
			MX8MP_IOMUXC_ENET_RXC__CCM_ENET_QOS_CLOCK_GENERATE_RX_CLK	0x91
			MX8MP_IOMUXC_ENET_RX_CTL__ENET_QOS_RGMII_RX_CTL	0x91
			MX8MP_IOMUXC_ENET_TD0__ENET_QOS_RGMII_TD0		0x1f
			MX8MP_IOMUXC_ENET_TD1__ENET_QOS_RGMII_TD1		0x1f
			MX8MP_IOMUXC_ENET_TD2__ENET_QOS_RGMII_TD2		0x1f
			MX8MP_IOMUXC_ENET_TD3__ENET_QOS_RGMII_TD3		0x1f
			MX8MP_IOMUXC_ENET_TX_CTL__ENET_QOS_RGMII_TX_CTL	0x1f
			MX8MP_IOMUXC_ENET_TXC__CCM_ENET_QOS_CLOCK_GENERATE_TX_CLK	0x1f
		>;
	};

	pinctrl_fec: fecgrp {
		fsl,pins = <
			MX8MP_IOMUXC_SAI1_RXD2__ENET1_MDC				0x3
			MX8MP_IOMUXC_SAI1_RXD3__ENET1_MDIO				0x3
			MX8MP_IOMUXC_SAI1_RXD4__ENET1_RGMII_RD0			0x91
			MX8MP_IOMUXC_SAI1_RXD5__ENET1_RGMII_RD1			0x91
			MX8MP_IOMUXC_SAI1_RXD6__ENET1_RGMII_RD2			0x91
			MX8MP_IOMUXC_SAI1_RXD7__ENET1_RGMII_RD3			0x91
			MX8MP_IOMUXC_SAI1_TXC__ENET1_RGMII_RXC			0x91
			MX8MP_IOMUXC_SAI1_TXFS__ENET1_RGMII_RX_CTL		0x91
			MX8MP_IOMUXC_SAI1_TXD0__ENET1_RGMII_TD0			0x1f
			MX8MP_IOMUXC_SAI1_TXD1__ENET1_RGMII_TD1			0x1f
			MX8MP_IOMUXC_SAI1_TXD2__ENET1_RGMII_TD2			0x1f
			MX8MP_IOMUXC_SAI1_TXD3__ENET1_RGMII_TD3			0x1f
			MX8MP_IOMUXC_SAI1_TXD4__ENET1_RGMII_TX_CTL		0x1f
			MX8MP_IOMUXC_SAI1_TXD5__ENET1_RGMII_TXC			0x1f
		>;
	};

	pinctrl_ioexpander: ioexpandergrp {
		fsl,pins = <
			MX8MP_IOMUXC_GPIO1_IO09__GPIO1_IO09			0x41
		>;
	};

	pinctrl_pwm1: pwm1grp {
		fsl,pins = <
			MX8MP_IOMUXC_SPDIF_EXT_CLK__PWM1_OUT		0x116
		>;
	};

	pinctrl_pwm2: pwm2grp {
		fsl,pins = <
			MX8MP_IOMUXC_SAI5_RXD0__PWM2_OUT			0x116
		>;
	};

	pinctrl_pwm3: pwm3grp {
		fsl,pins = <
			MX8MP_IOMUXC_GPIO1_IO10__PWM3_OUT			0x116
		>;
	};

	pinctrl_pwm4: pwm4grp {
		fsl,pins = <
			MX8MP_IOMUXC_SAI3_MCLK__PWM4_OUT			0x116
		>;
	};	

	pinctrl_lcd0_backlight: lcd0grp-backlight {
		fsl,pins = <
			MX8MP_IOMUXC_GPIO1_IO05__GPIO1_IO05			0x41
		>;
	};

	pinctrl_lcd0_panel: lcd0grp-panel {
		fsl,pins = <
			MX8MP_IOMUXC_GPIO1_IO00__GPIO1_IO00			0x41
		>;
	};

	pinctrl_lcd1_backlight: lcd1grp-backlight {
		fsl,pins = <
			MX8MP_IOMUXC_GPIO1_IO06__GPIO1_IO06			0x41
		>;
	};

	pinctrl_lcd1_panel: lcd1grp-panel {
		fsl,pins = <
			MX8MP_IOMUXC_GPIO1_IO01__GPIO1_IO01			0x41
		>;
	};

	pinctrl_lvds_bridge: lvdsgrp-bridge {
		fsl,pins = <
			MX8MP_IOMUXC_GPIO1_IO07__GPIO1_IO07			0x41
		>;
	};

	pinctrl_flexcan1: flexcan1grp {
		fsl,pins = <
			MX8MP_IOMUXC_SAI5_RXD1__CAN1_TX				0x154
			MX8MP_IOMUXC_SAI5_RXD2__CAN1_RX				0x154
		>;
	};

	pinctrl_flexcan2: flexcan2grp {
		fsl,pins = <
			MX8MP_IOMUXC_SAI5_RXD3__CAN2_TX				0x154
			MX8MP_IOMUXC_SAI5_MCLK__CAN2_RX				0x154
		>;
	};

	pinctrl_sai2: sai2grp {
		fsl,pins = <
			MX8MP_IOMUXC_SAI2_TXFS__AUDIOMIX_SAI2_TX_SYNC	0xd6
			MX8MP_IOMUXC_SAI2_TXC__AUDIOMIX_SAI2_TX_BCLK	0xd6
			MX8MP_IOMUXC_SAI2_RXD0__AUDIOMIX_SAI2_RX_DATA00	0xd6
			MX8MP_IOMUXC_SAI2_TXD0__AUDIOMIX_SAI2_TX_DATA00	0xd6
		>;
	};

	pinctrl_usb0_vbus: usb0vbusgrp {
		fsl,pins = <
			MX8MP_IOMUXC_GPIO1_IO12__GPIO1_IO12	0x19
		>;
	};

	pinctrl_usb1_vbus: usb1vbusgrp {
		fsl,pins = <
			MX8MP_IOMUXC_GPIO1_IO14__GPIO1_IO14	0x19
		>;
	};

	pinctrl_wdog: wdoggrp {
		fsl,pins = <
			MX8MP_IOMUXC_GPIO1_IO02__WDOG1_WDOG_B	0xc6
		>;
	};
};
